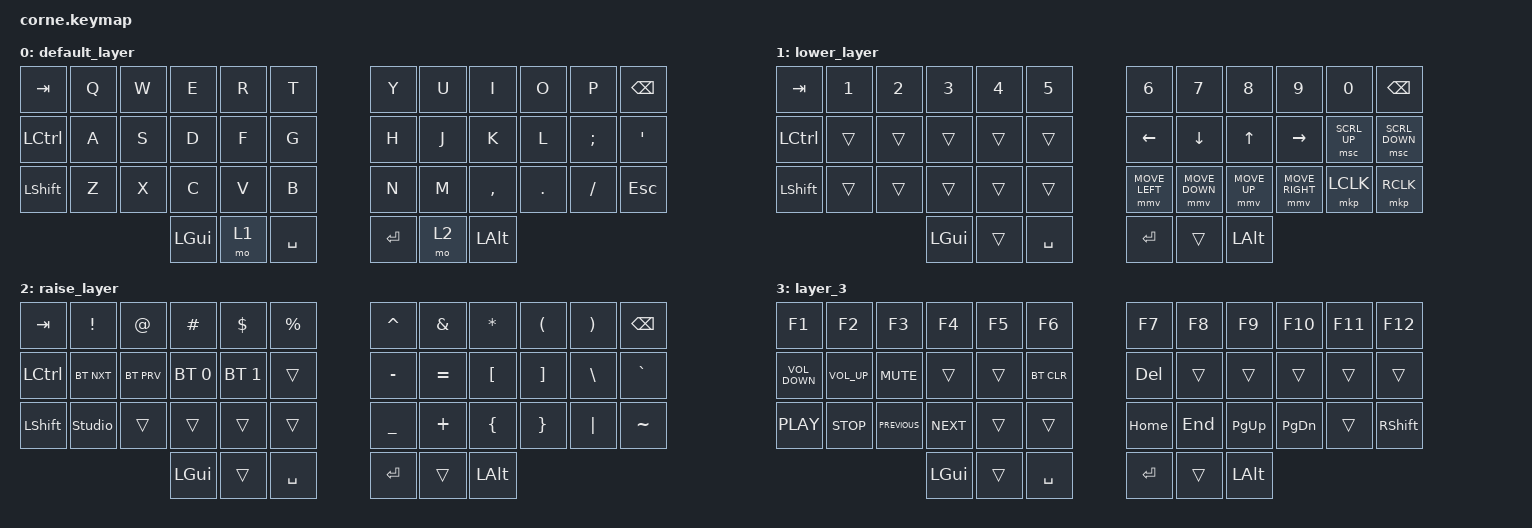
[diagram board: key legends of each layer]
/*
 * Copyright (c) 2020 The ZMK Contributors
 *
 * SPDX-License-Identifier: MIT
 */

#define ZMK_POINTING_DEFAULT_MOVE_VAL 5000  // 600
#define ZMK_POINTING_DEFAULT_SCRL_VAL 30    // 10

#include <behaviors/mouse_keys.dtsi>
#include <dt-bindings/zmk/mouse.h>
#include <behaviors.dtsi>
#include <dt-bindings/zmk/bt.h>
#include <dt-bindings/zmk/keys.h>
#include <dt-bindings/zmk/pointing.h>

&mmv {
    acceleration-exponent = <1>;      // 1
    time-to-max-speed-ms = <500>;     // 300
    delay-ms = <0>;                   // 0
};

&msc {
    acceleration-exponent = <1>;      // 0
    time-to-max-speed-ms = <10>;      // 300
    delay-ms = <0>;                   // 0
};

/ {
    keymap {
        compatible = "zmk,keymap";

        default_layer {
            // -----------------------------------------------------------------------------------------
            // |  TAB |  Q  |  W  |  E  |  R  |  T  |   |  Y  |  U   |  I  |  O  |  P  | BKSP |
            // | CTRL |  A  |  S  |  D  |  F  |  G  |   |  H  |  J   |  K  |  L  |  ;  |  '   |
            // | SHFT |  Z  |  X  |  C  |  V  |  B  |   |  N  |  M   |  ,  |  .  |  /  | ESC  |
            //                    | GUI | LWR | SPC |   | ENT | RSE  | ALT |

            bindings = <
&kp TAB    &kp Q  &kp W  &kp E     &kp R  &kp T        &kp Y    &kp U  &kp I         &kp O    &kp P     &kp BSPC
&kp LCTRL  &kp A  &kp S  &kp D     &kp F  &kp G        &kp H    &kp J  &kp K         &kp L    &kp SEMI  &kp SQT
&kp LSHFT  &kp Z  &kp X  &kp C     &kp V  &kp B        &kp N    &kp M  &kp COMMA     &kp DOT  &kp FSLH  &kp ESC
                         &kp LGUI  &mo 1  &kp SPACE    &kp RET  &mo 2  &kp LEFT_ALT
            >;
        };

        lower_layer {
            // -----------------------------------------------------------------------------------------
            // |  TAB |  1  |  2  |  3  |  4  |  5  |   |  6  |  7  |  8  |  9  |  0  | BKSP |
            // | BTCLR| BT1 | BT2 | BT3 | BT4 | BT5 |   | LFT | DWN |  UP | RGT |     |      |
            // | SHFT |     |     |     |     |     |   |     |     |     |     |     |      |
            //                    | GUI |     | SPC |   | ENT |     | ALT |

            bindings = <
&kp TAB    &kp N1  &kp N2  &kp N3    &kp N4  &kp N5       &kp N6          &kp N7          &kp N8        &kp N9           &kp N0        &kp BSPC
&kp LCTRL  &trans  &trans  &trans    &trans  &trans       &kp LEFT_ARROW  &kp DOWN_ARROW  &kp UP_ARROW  &kp RIGHT_ARROW  &msc SCRL_UP  &msc SCRL_DOWN
&kp LSHFT  &trans  &trans  &trans    &trans  &trans       &mmv MOVE_LEFT  &mmv MOVE_DOWN  &mmv MOVE_UP  &mmv MOVE_RIGHT  &mkp LCLK     &mkp RCLK
                           &kp LGUI  &trans  &kp SPACE    &kp RET         &trans          &kp LEFT_ALT
            >;
        };

        raise_layer {
            // -----------------------------------------------------------------------------------------
            // |  TAB |  !  |  @  |  #  |  $  |  %  |   |  ^  |  &  |  *  |  (  |  )  | BKSP |
            // | CTRL |     |     |     |     |     |   |  -  |  =  |  [  |  ]  |  \  |  `   |
            // | SHFT |     |     |     |     |     |   |  _  |  +  |  {  |  }  | "|" |  ~   |
            //                    | GUI |     | SPC |   | ENT |     | ALT |

            bindings = <
&kp TAB    &kp EXCL        &kp AT      &kp HASH      &kp DLLR      &kp PRCNT    &kp CARET  &kp AMPS   &kp ASTRK     &kp LPAR  &kp RPAR  &kp BSPC
&kp LCTRL  &bt BT_NXT      &bt BT_PRV  &bt BT_SEL 0  &bt BT_SEL 1  &trans       &kp MINUS  &kp EQUAL  &kp LBKT      &kp RBKT  &kp BSLH  &kp GRAVE
&kp LSHFT  &studio_unlock  &trans      &trans        &trans        &trans       &kp UNDER  &kp PLUS   &kp LBRC      &kp RBRC  &kp PIPE  &kp TILDE
                                       &kp LGUI      &trans        &kp SPACE    &kp RET    &trans     &kp LEFT_ALT
            >;
        };

        layer_3 {
            bindings = <
&kp F1             &kp F2           &kp F3          &kp F4      &kp F5  &kp F6        &kp F7    &kp F8   &kp F9        &kp F10        &kp F11  &kp F12
&kp K_VOLUME_DOWN  &kp K_VOLUME_UP  &kp C_MUTE      &trans      &trans  &bt BT_CLR    &kp DEL   &trans   &trans        &trans         &trans   &trans
&kp C_PLAY         &kp C_STOP       &kp C_PREVIOUS  &kp C_NEXT  &trans  &trans        &kp HOME  &kp END  &kp PAGE_UP   &kp PAGE_DOWN  &trans   &kp RIGHT_SHIFT
                                                    &kp LGUI    &trans  &kp SPACE     &kp RET   &trans   &kp LEFT_ALT
            >;
        };
    };

    conditional_layers {
        compatible = "zmk,conditional-layers";

        layer_3 {
            if-layers = <1 2>;
            then-layer = <3>;
        };
    };
};
